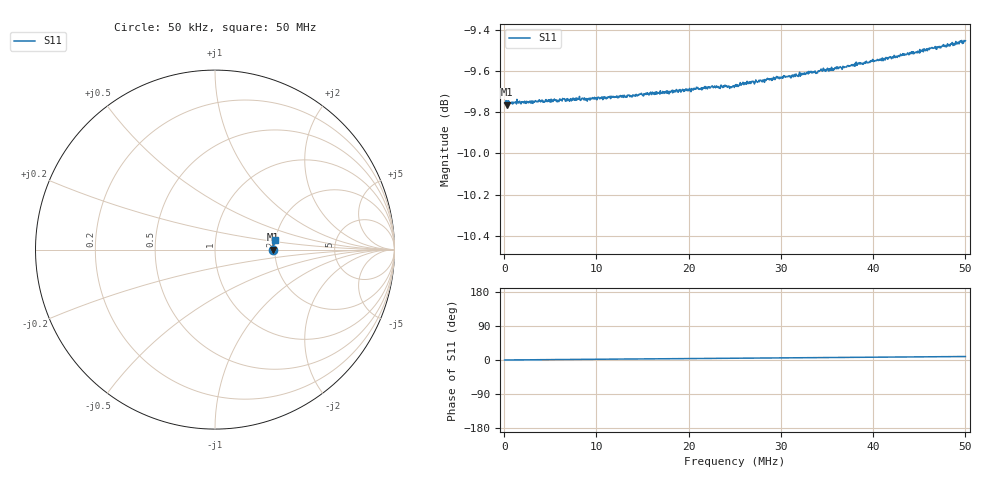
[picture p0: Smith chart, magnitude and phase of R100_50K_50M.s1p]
# HZ S RI R 50
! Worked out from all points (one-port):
!   1010 points, 50 kHz to 50 MHz, reference 50 ohm
!   lowest |S11| = -9.8 dB at 297.5 kHz (marker M1), VSWR 1.96, Z = 98.1 + j0.0479 ohm
!   |S11| at or under -10 dB: nowhere
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50000  0.3253 -5.88e-06
297520  0.325 0.000218
1733136  0.3253 0.00222
3069744  0.3252 0.00339
3911312  0.3256 0.00457
4950896  0.3255 0.00558
5346928  0.3258 0.00588
5742960  0.3254 0.00638
6337008  0.326 0.00711
6881552  0.326 0.00754
7921136  0.3257 0.00889
9059728  0.3258 0.00978
1.257451e7  0.3263 0.0139
1.628731e7  0.3263 0.018
1.881202e7  0.3269 0.0204
2.094069e7  0.3272 0.0228
2.381192e7  0.3274 0.026
2.445547e7  0.3269 0.0265
2.504952e7  0.3274 0.0275
2.584158e7  0.3277 0.0282
2.688117e7  0.328 0.0293
3.128702e7  0.3285 0.0339
3.752453e7  0.3296 0.0407
4.376203e7  0.3312 0.0472
4.475211e7  0.3311 0.0479
4.618773e7  0.3317 0.0497
4.806888e7  0.3323 0.0515
4.999954e7  0.3325 0.0537
